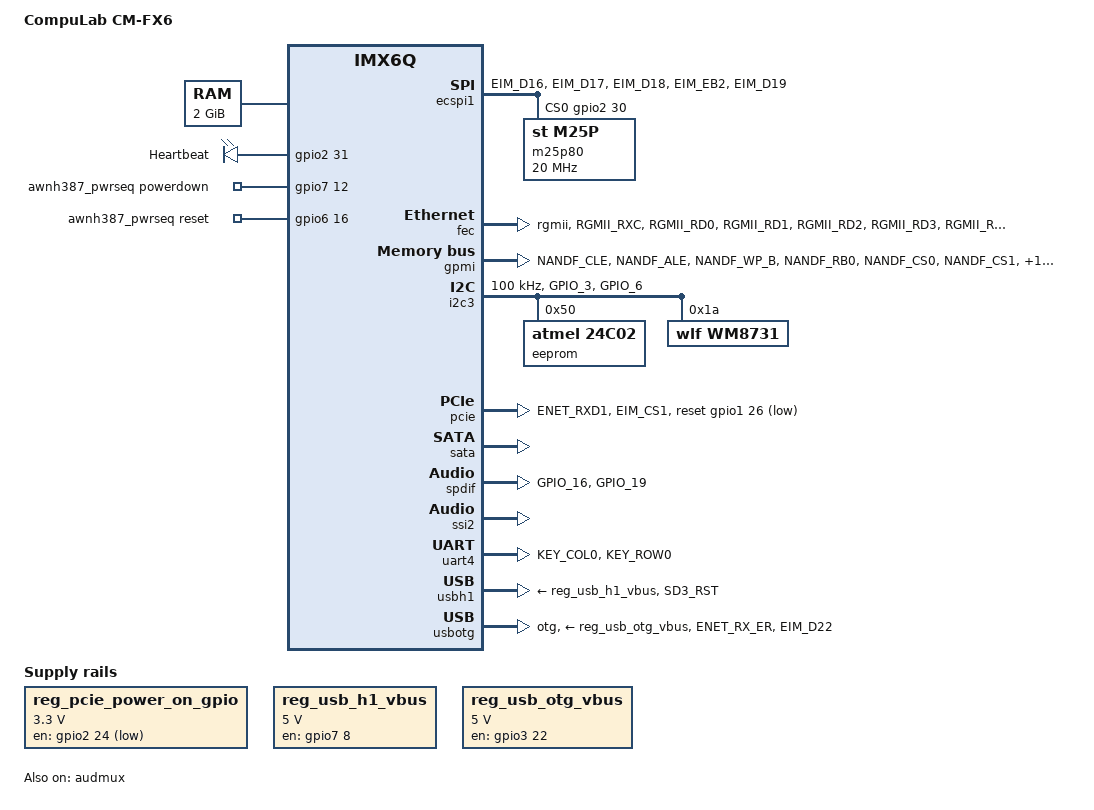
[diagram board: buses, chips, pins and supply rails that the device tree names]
/*
 * Copyright 2013 CompuLab Ltd.
 *
 * Author: Valentin Raevsky <valentin@compulab.co.il>
 *
 * This file is dual-licensed: you can use it either under the terms
 * of the GPL or the X11 license, at your option. Note that this dual
 * licensing only applies to this file, and not this project as a
 * whole.
 *
 *  a) This file is free software; you can redistribute it and/or
 *     modify it under the terms of the GNU General Public License
 *     version 2 as published by the Free Software Foundation.
 *
 *     This file is distributed in the hope that it will be useful,
 *     but WITHOUT ANY WARRANTY; without even the implied warranty of
 *     MERCHANTABILITY or FITNESS FOR A PARTICULAR PURPOSE.  See the
 *     GNU General Public License for more details.
 *
 * Or, alternatively,
 *
 *  b) Permission is hereby granted, free of charge, to any person
 *     obtaining a copy of this software and associated documentation
 *     files (the "Software"), to deal in the Software without
 *     restriction, including without limitation the rights to use,
 *     copy, modify, merge, publish, distribute, sublicense, and/or
 *     sell copies of the Software, and to permit persons to whom the
 *     Software is furnished to do so, subject to the following
 *     conditions:
 *
 *     The above copyright notice and this permission notice shall be
 *     included in all copies or substantial portions of the Software.
 *
 *     THE SOFTWARE IS PROVIDED "AS IS", WITHOUT WARRANTY OF ANY KIND,
 *     EXPRESS OR IMPLIED, INCLUDING BUT NOT LIMITED TO THE WARRANTIES
 *     OF MERCHANTABILITY, FITNESS FOR A PARTICULAR PURPOSE AND
 *     NONINFRINGEMENT. IN NO EVENT SHALL THE AUTHORS OR COPYRIGHT
 *     HOLDERS BE LIABLE FOR ANY CLAIM, DAMAGES OR OTHER LIABILITY,
 *     WHETHER IN AN ACTION OF CONTRACT, TORT OR OTHERWISE, ARISING
 *     FROM, OUT OF OR IN CONNECTION WITH THE SOFTWARE OR THE USE OR
 *     OTHER DEALINGS IN THE SOFTWARE.
 */

/dts-v1/;
#include <dt-bindings/gpio/gpio.h>
#include <dt-bindings/sound/fsl-imx-audmux.h>
#include "imx6q.dtsi"

/ {
	model = "CompuLab CM-FX6";
	compatible = "compulab,cm-fx6", "fsl,imx6q";

	memory@10000000 {
		device_type = "memory";
		reg = <0x10000000 0x80000000>;
	};

	leds {
		compatible = "gpio-leds";

		heartbeat-led {
			label = "Heartbeat";
			gpios = <&gpio2 31 0>;
			linux,default-trigger = "heartbeat";
		};
	};

	awnh387_pwrseq: pwrseq {
		pinctrl-names = "default";
		pinctrl-0 = <&pinctrl_pwrseq>;
		compatible = "mmc-pwrseq-sd8787";
		powerdown-gpios = <&gpio7 12 GPIO_ACTIVE_HIGH>;
		reset-gpios = <&gpio6 16 GPIO_ACTIVE_HIGH>;
	};

	reg_pcie_power_on_gpio: regulator-pcie-power-on-gpio {
		compatible = "regulator-fixed";
		regulator-name = "regulator-pcie-power-on-gpio";
		regulator-min-microvolt = <3300000>;
		regulator-max-microvolt = <3300000>;
		gpio = <&gpio2 24 GPIO_ACTIVE_LOW>;
	};

	reg_usb_h1_vbus: usb_h1_vbus {
		compatible = "regulator-fixed";
		regulator-name = "usb_h1_vbus";
		regulator-min-microvolt = <5000000>;
		regulator-max-microvolt = <5000000>;
		gpio = <&gpio7 8 GPIO_ACTIVE_HIGH>;
		enable-active-high;
	};

	reg_usb_otg_vbus: usb_otg_vbus {
		compatible = "regulator-fixed";
		regulator-name = "usb_otg_vbus";
		regulator-min-microvolt = <5000000>;
		regulator-max-microvolt = <5000000>;
		gpio = <&gpio3 22 GPIO_ACTIVE_HIGH>;
		enable-active-high;
	};

	sound-analog {
		compatible = "simple-audio-card";
		simple-audio-card,name = "On-board analog audio";
		simple-audio-card,widgets =
			"Headphone", "Headphone Jack",
			"Line", "Line Out",
			"Microphone", "Mic Jack",
			"Line", "Line In";
		simple-audio-card,routing =
			"Headphone Jack", "RHPOUT",
			"Headphone Jack", "LHPOUT",
			"MICIN", "Mic Bias",
			"Mic Bias", "Mic Jack";
		simple-audio-card,format = "i2s";
		simple-audio-card,bitclock-master = <&sound_master>;
		simple-audio-card,frame-master = <&sound_master>;
		simple-audio-card,bitclock-inversion;

		sound_master: simple-audio-card,cpu {
			sound-dai = <&ssi2>;
			system-clock-frequency = <2822400>;
		};

		simple-audio-card,codec {
			sound-dai = <&wm8731>;
		};
	};

	sound-spdif {
		compatible = "fsl,imx-audio-spdif";
		model = "imx-spdif";
		spdif-controller = <&spdif>;
		spdif-out;
		spdif-in;
	};
};

&audmux {
	pinctrl-names = "default";
	pinctrl-0 = <&pinctrl_audmux>;
	status = "okay";

	ssi2 {
		fsl,audmux-port = <1>;
		fsl,port-config = <
			(IMX_AUDMUX_V2_PTCR_RCLKDIR |
			IMX_AUDMUX_V2_PTCR_RCSEL(3 | 0x8) |
			IMX_AUDMUX_V2_PTCR_TCLKDIR |
			IMX_AUDMUX_V2_PTCR_TCSEL(3))
			IMX_AUDMUX_V2_PDCR_RXDSEL(3)
		>;
	};

	audmux4 {
		fsl,audmux-port = <3>;
		fsl,port-config = <
			(IMX_AUDMUX_V2_PTCR_TFSDIR |
			IMX_AUDMUX_V2_PTCR_TFSEL(1) |
			IMX_AUDMUX_V2_PTCR_RCLKDIR |
			IMX_AUDMUX_V2_PTCR_RCSEL(1 | 0x8) |
			IMX_AUDMUX_V2_PTCR_TCLKDIR |
			IMX_AUDMUX_V2_PTCR_TCSEL(1))
			IMX_AUDMUX_V2_PDCR_RXDSEL(1)
		>;
	};
};

&cpu0 {
	/*
	 * Although the imx6q fuse indicates that 1.2GHz operation is possible,
	 * the module behaves unstable at this frequency. Hence, remove the
	 * 1.2GHz operation point here.
	 */
	operating-points = <
		/* kHz	uV */
		996000	1250000
		852000	1250000
		792000	1175000
		396000	975000
	>;
	fsl,soc-operating-points = <
		/* ARM kHz	SOC-PU uV */
		996000		1250000
		852000		1250000
		792000		1175000
		396000		1175000
	>;
};

&cpu1 {
	/*
	 * Although the imx6q fuse indicates that 1.2GHz operation is possible,
	 * the module behaves unstable at this frequency. Hence, remove the
	 * 1.2GHz operation point here.
	 */
	operating-points = <
		/* kHz	uV */
		996000	1250000
		852000	1250000
		792000	1175000
		396000	975000
	>;
	fsl,soc-operating-points = <
		/* ARM kHz	SOC-PU uV */
		996000		1250000
		852000		1250000
		792000		1175000
		396000		1175000
	>;
};

&cpu2 {
	/*
	 * Although the imx6q fuse indicates that 1.2GHz operation is possible,
	 * the module behaves unstable at this frequency. Hence, remove the
	 * 1.2GHz operation point here.
	 */
	operating-points = <
		/* kHz	uV */
		996000	1250000
		852000	1250000
		792000	1175000
		396000	975000
	>;
	fsl,soc-operating-points = <
		/* ARM kHz	SOC-PU uV */
		996000		1250000
		852000		1250000
		792000		1175000
		396000		1175000
	>;
};

&cpu3 {
	/*
	 * Although the imx6q fuse indicates that 1.2GHz operation is possible,
	 * the module behaves unstable at this frequency. Hence, remove the
	 * 1.2GHz operation point here.
	 */
	operating-points = <
		/* kHz	uV */
		996000	1250000
		852000	1250000
		792000	1175000
		396000	975000
	>;
	fsl,soc-operating-points = <
		/* ARM kHz	SOC-PU uV */
		996000		1250000
		852000		1250000
		792000		1175000
		396000		1175000
	>;
};

&ecspi1 {
	cs-gpios = <&gpio2 30 GPIO_ACTIVE_HIGH>, <&gpio3 19 GPIO_ACTIVE_HIGH>;
	pinctrl-names = "default";
	pinctrl-0 = <&pinctrl_ecspi1>;
	status = "okay";

	m25p80@0 {
		#address-cells = <1>;
		#size-cells = <1>;
		compatible = "st,m25p", "jedec,spi-nor";
		spi-max-frequency = <20000000>;
		reg = <0>;
	};
};

&fec {
	pinctrl-names = "default";
	pinctrl-0 = <&pinctrl_enet>;
	phy-mode = "rgmii";
	status = "okay";
};

&gpmi {
	pinctrl-names = "default";
	pinctrl-0 = <&pinctrl_gpmi_nand>;
	status = "okay";
};

&i2c3 {
	pinctrl-names = "default";
	pinctrl-0 = <&pinctrl_i2c3>;
	status = "okay";
	clock-frequency = <100000>;

	eeprom@50 {
		compatible = "atmel,24c02";
		reg = <0x50>;
		pagesize = <16>;
	};

	wm8731: codec@1a {
		#sound-dai-cells = <0>;
		compatible = "wlf,wm8731";
		reg = <0x1a>;
	};
};

&iomuxc {
	pinctrl_audmux: audmuxgrp {
		fsl,pins = <
			MX6QDL_PAD_SD2_CMD__AUD4_RXC   0x17059
			MX6QDL_PAD_SD2_DAT0__AUD4_RXD  0x17059
			MX6QDL_PAD_SD2_DAT3__AUD4_TXC  0x17059
			MX6QDL_PAD_SD2_DAT2__AUD4_TXD  0x17059
			MX6QDL_PAD_SD2_DAT1__AUD4_TXFS 0x17059
		>;
	};

	pinctrl_ecspi1: ecspi1grp {
		fsl,pins = <
			MX6QDL_PAD_EIM_D16__ECSPI1_SCLK	0x100b1
			MX6QDL_PAD_EIM_D17__ECSPI1_MISO	0x100b1
			MX6QDL_PAD_EIM_D18__ECSPI1_MOSI	0x100b1
			MX6QDL_PAD_EIM_EB2__GPIO2_IO30	0x100b1
			MX6QDL_PAD_EIM_D19__GPIO3_IO19	0x100b1
		>;
	};

	pinctrl_enet: enetgrp {
		fsl,pins = <
			MX6QDL_PAD_RGMII_RXC__RGMII_RXC		0x1b030
			MX6QDL_PAD_RGMII_RD0__RGMII_RD0		0x1b030
			MX6QDL_PAD_RGMII_RD1__RGMII_RD1		0x1b030
			MX6QDL_PAD_RGMII_RD2__RGMII_RD2		0x1b030
			MX6QDL_PAD_RGMII_RD3__RGMII_RD3		0x1b030
			MX6QDL_PAD_RGMII_RX_CTL__RGMII_RX_CTL	0x1b030
			MX6QDL_PAD_RGMII_TXC__RGMII_TXC		0x1b030
			MX6QDL_PAD_RGMII_TD0__RGMII_TD0		0x1b030
			MX6QDL_PAD_RGMII_TD1__RGMII_TD1		0x1b030
			MX6QDL_PAD_RGMII_TD2__RGMII_TD2		0x1b030
			MX6QDL_PAD_RGMII_TD3__RGMII_TD3		0x1b030
			MX6QDL_PAD_RGMII_TX_CTL__RGMII_TX_CTL	0x1b030
			MX6QDL_PAD_ENET_REF_CLK__ENET_TX_CLK	0x1b0b0
			MX6QDL_PAD_ENET_MDIO__ENET_MDIO		0x1b0b0
			MX6QDL_PAD_ENET_MDC__ENET_MDC		0x1b0b0
		>;
	};

	pinctrl_gpmi_nand: gpminandgrp {
		fsl,pins = <
			MX6QDL_PAD_NANDF_CLE__NAND_CLE		0xb0b1
			MX6QDL_PAD_NANDF_ALE__NAND_ALE		0xb0b1
			MX6QDL_PAD_NANDF_WP_B__NAND_WP_B	0xb0b1
			MX6QDL_PAD_NANDF_RB0__NAND_READY_B	0xb000
			MX6QDL_PAD_NANDF_CS0__NAND_CE0_B	0xb0b1
			MX6QDL_PAD_NANDF_CS1__NAND_CE1_B	0xb0b1
			MX6QDL_PAD_SD4_CMD__NAND_RE_B		0xb0b1
			MX6QDL_PAD_SD4_CLK__NAND_WE_B		0xb0b1
			MX6QDL_PAD_NANDF_D0__NAND_DATA00	0xb0b1
			MX6QDL_PAD_NANDF_D1__NAND_DATA01	0xb0b1
			MX6QDL_PAD_NANDF_D2__NAND_DATA02	0xb0b1
			MX6QDL_PAD_NANDF_D3__NAND_DATA03	0xb0b1
			MX6QDL_PAD_NANDF_D4__NAND_DATA04	0xb0b1
			MX6QDL_PAD_NANDF_D5__NAND_DATA05	0xb0b1
			MX6QDL_PAD_NANDF_D6__NAND_DATA06	0xb0b1
			MX6QDL_PAD_NANDF_D7__NAND_DATA07	0xb0b1
			MX6QDL_PAD_SD4_DAT0__NAND_DQS		0x00b1
		>;
	};

	pinctrl_i2c3: i2c3grp {
		fsl,pins = <
			MX6QDL_PAD_GPIO_3__I2C3_SCL	0x4001b8b1
			MX6QDL_PAD_GPIO_6__I2C3_SDA	0x4001b8b1
		>;
	};

	pinctrl_pcie: pciegrp {
		fsl,pins = <
			MX6QDL_PAD_ENET_RXD1__GPIO1_IO26	0x1b0b1
			MX6QDL_PAD_EIM_CS1__GPIO2_IO24	0x1b0b1
		>;
	};

	pinctrl_pwrseq: pwrseqgrp {
		fsl,pins = <
			MX6QDL_PAD_GPIO_17__GPIO7_IO12		0x1b0b0
			MX6QDL_PAD_NANDF_CS3__GPIO6_IO16	0x1b0b0
		>;
	};

	pinctrl_spdif: spdifgrp {
		fsl,pins = <
			MX6QDL_PAD_GPIO_16__SPDIF_IN  0x1b0b0
			MX6QDL_PAD_GPIO_19__SPDIF_OUT 0x1b0b0
		>;
	};

	pinctrl_uart4: uart4grp {
		fsl,pins = <
			MX6QDL_PAD_KEY_COL0__UART4_TX_DATA	0x1b0b1
			MX6QDL_PAD_KEY_ROW0__UART4_RX_DATA	0x1b0b1
		>;
	};

	pinctrl_usbh1: usbh1grp {
		fsl,pins = <
			MX6QDL_PAD_SD3_RST__GPIO7_IO08	0x1b0b1
		>;
	};

	pinctrl_usbotg: usbotggrp {
		fsl,pins = <
			MX6QDL_PAD_ENET_RX_ER__USB_OTG_ID	0x17059
			MX6QDL_PAD_EIM_D22__GPIO3_IO22	0x130b0
		>;
	};

	pinctrl_usdhc1: usdhc1grp {
		fsl,pins = <
			MX6QDL_PAD_SD1_CMD__SD1_CMD	0x17071
			MX6QDL_PAD_SD1_CLK__SD1_CLK	0x10071
			MX6QDL_PAD_SD1_DAT0__SD1_DATA0	0x17071
			MX6QDL_PAD_SD1_DAT1__SD1_DATA1	0x17071
			MX6QDL_PAD_SD1_DAT2__SD1_DATA2	0x17071
			MX6QDL_PAD_SD1_DAT3__SD1_DATA3	0x17071
		>;
	};
};

&pcie {
	pinctrl-names = "default";
	pinctrl-0 = <&pinctrl_pcie>;
	reset-gpio = <&gpio1 26 GPIO_ACTIVE_LOW>;
	vpcie-supply = <&reg_pcie_power_on_gpio>;
	status = "okay";
};

&sata {
	status = "okay";
};

&snvs_poweroff {
	status = "okay";
};

&spdif {
	pinctrl-names = "default";
	pinctrl-0 = <&pinctrl_spdif>;
	status = "okay";
};

&ssi2 {
	assigned-clocks = <&clks IMX6QDL_CLK_SSI2_SEL>,
			<&clks IMX6QDL_CLK_PLL4_AUDIO_DIV>;
	assigned-clock-parents = <&clks IMX6QDL_CLK_PLL4_AUDIO_DIV>;
	assigned-clock-rates = <0>, <786432000>;
	status = "okay";
};

&uart4 {
	pinctrl-names = "default";
	pinctrl-0 = <&pinctrl_uart4>;
	status = "okay";
};

&usbh1 {
	vbus-supply = <&reg_usb_h1_vbus>;
	pinctrl-names = "default";
	pinctrl-0 = <&pinctrl_usbh1>;
	status = "okay";
};

&usbotg {
	vbus-supply = <&reg_usb_otg_vbus>;
	pinctrl-names = "default";
	pinctrl-0 = <&pinctrl_usbotg>;
	dr_mode = "otg";
	status = "okay";
};

&usdhc1 {
	pinctrl-names = "default";
	pinctrl-0 = <&pinctrl_usdhc1>;
	mmc-pwrseq = <&awnh387_pwrseq>;
	non-removable;
	/*
	 * If the OS probes the Bluetooth AMP function advertised on this bus
	 * but the firmware in place does not support it, the WiFi/BT module
	 * gets unresponsive.
	 * Users who configured their OS properly can enable this node to gain
	 * WiFi and/or plain Bluetooth support.
	 */
	status = "disabled";
};
